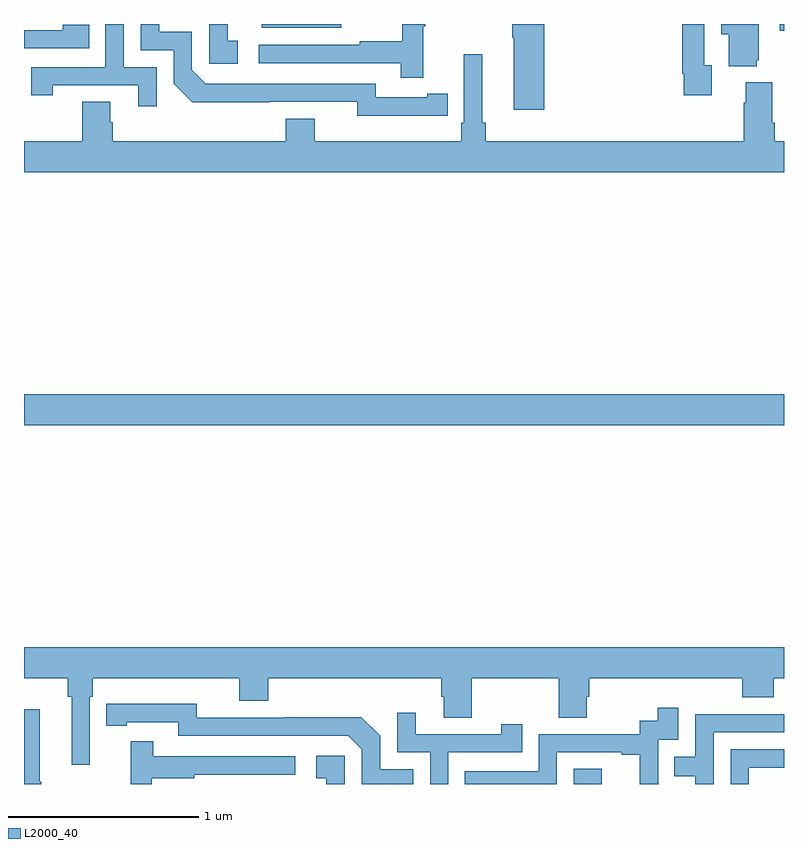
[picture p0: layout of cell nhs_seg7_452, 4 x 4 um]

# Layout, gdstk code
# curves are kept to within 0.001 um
import gdstk
lib = gdstk.Library(unit=1e-6, precision=1e-09)
def R(c, l, rs):  # rectangles x0, y0, x1, y1
    for r in rs: c.add(gdstk.rectangle(r[:2], r[2:], *l))
def P(c, l, *ps):  # polygons
    for p in ps: c.add(gdstk.Polygon(p, *l))
L2000_40 = (2000, 40)

nhs_seg7_452 = lib.new_cell('nhs_seg7_452')
R(nhs_seg7_452, L2000_40, [(147.894,1060,148.042,1060.081), (145,1061.888,149,1062.052), (148.977,1063.965,149,1064), (146.252,1063.979,146.671,1064)])
P(nhs_seg7_452, L2000_40, [(146.125,1063.911),(146.072,1063.911),(146.072,1064),(145.974,1064),(145.974,1063.791),(146.125,1063.791)],
  [(145.698,1063.773),(145.524,1063.773),(145.524,1064),(145.428,1064),(145.428,1063.773),(145.039,1063.773),(145.039,1063.626),(145.15,1063.626),(145.15,1063.677),(145.601,1063.677),(145.601,1063.566),(145.698,1063.566)],
  [(148.621,1063.782),(148.581,1063.782),(148.581,1064),(148.465,1064),(148.465,1063.738),(148.473,1063.738),(148.473,1063.626),(148.621,1063.626)],
  [(147.122,1063.518),(147.23,1063.518),(147.23,1063.634),(147.122,1063.634),(147.122,1063.614),(146.85,1063.614),(146.85,1063.686),(145.956,1063.686),(145.884,1063.758),(145.884,1063.959),(145.711,1063.959),(145.711,1064),(145.614,1064),(145.614,1063.863),(145.788,1063.863),(145.788,1063.686),(145.886,1063.589),(146.754,1063.59),(146.754,1063.517)],
  [(147.737,1064),(147.571,1064),(147.571,1063.927),(147.578,1063.927),(147.578,1063.548),(147.737,1063.548)],
  [(147.101,1063.987),(147.112,1063.987),(147.112,1064),(146.991,1064),(146.991,1063.91),(146.767,1063.91),(146.767,1063.89),(146.235,1063.89),(146.235,1063.794),(146.983,1063.794),(146.983,1063.716),(147.101,1063.716)],
  [(148.856,1063.809),(148.867,1063.809),(148.867,1064),(148.67,1064),(148.67,1063.946),(148.709,1063.946),(148.709,1063.778),(148.856,1063.778)],
  [(145.343,1063.995),(145.203,1063.995),(145.203,1063.968),(145,1063.968),(145,1063.872),(145.343,1063.872)],
  [(149,1063.384),(148.952,1063.384),(148.952,1063.48),(148.939,1063.48),(148.939,1063.693),(148.799,1063.693),(148.799,1063.586),(148.787,1063.586),(148.787,1063.384),(147.431,1063.384),(147.431,1063.48),(147.412,1063.48),(147.412,1063.84),(147.315,1063.84),(147.315,1063.48),(147.302,1063.48),(147.302,1063.384),(146.53,1063.384),(146.53,1063.501),(146.378,1063.501),(146.378,1063.384),(145.466,1063.384),(145.466,1063.482),(145.453,1063.482),(145.453,1063.592),(145.306,1063.592),(145.306,1063.384),(145,1063.384),(145,1063.22),(149,1063.22)],
  [(145.347,1060.46),(145.361,1060.46),(145.361,1060.556),(146.132,1060.556),(146.132,1060.439),(146.285,1060.439),(146.285,1060.556),(147.197,1060.556),(147.197,1060.458),(147.209,1060.458),(147.209,1060.348),(147.357,1060.348),(147.357,1060.556),(147.814,1060.556),(147.814,1060.348),(147.961,1060.348),(147.961,1060.458),(147.974,1060.458),(147.974,1060.556),(148.781,1060.556),(148.781,1060.457),(148.946,1060.457),(148.946,1060.556),(149,1060.556),(149,1060.72),(145,1060.72),(145,1060.556),(145.231,1060.556),(145.231,1060.46),(145.25,1060.46),(145.25,1060.101),(145.347,1060.101)],
  [(147.048,1060.077),(146.874,1060.077),(146.874,1060.254),(146.776,1060.352),(146.368,1060.352),(146.368,1060.35),(145.908,1060.35),(145.908,1060.423),(145.432,1060.422),(145.432,1060.306),(145.54,1060.306),(145.54,1060.326),(145.812,1060.326),(145.812,1060.254),(146.706,1060.254),(146.778,1060.182),(146.778,1060),(147.048,1060)],
  [(147.804,1060.167),(148.145,1060.167),(148.145,1060.155),(148.241,1060.155),(148.241,1060),(148.34,1060),(148.34,1060.004),(148.338,1060.004),(148.338,1060.233),(148.443,1060.233),(148.443,1060.402),(148.335,1060.402),(148.335,1060.332),(148.242,1060.332),(148.242,1060.263),(147.708,1060.263),(147.708,1060.068),(147.319,1060.068),(147.319,1060),(147.804,1060)],
  [(145.092,1060.013),(145.084,1060.013),(145.084,1060.393),(145,1060.393),(145,1060),(145.092,1060)],
  [(147.234,1060.167),(147.623,1060.167),(147.623,1060.315),(147.512,1060.315),(147.512,1060.263),(147.061,1060.263),(147.061,1060.375),(146.964,1060.375),(146.964,1060.167),(147.138,1060.167),(147.138,1060),(147.234,1060)],
  [(148.629,1060.272),(149,1060.272),(149,1060.368),(148.533,1060.368),(148.533,1060.143),(148.423,1060.143),(148.423,1060.042),(148.533,1060.042),(148.533,1060),(148.629,1060)],
  [(145.672,1060.03),(145.895,1060.03),(145.895,1060.05),(146.428,1060.05),(146.428,1060.146),(145.679,1060.146),(145.679,1060.225),(145.562,1060.225),(145.562,1060),(145.672,1060)],
  [(148.815,1060.086),(149,1060.086),(149,1060.182),(148.719,1060.182),(148.719,1060),(148.815,1060)],
  [(146.688,1060.15),(146.538,1060.15),(146.538,1060.029),(146.591,1060.029),(146.591,1060),(146.688,1060)])

lib.write_gds('nhs_seg7_452.gds')
